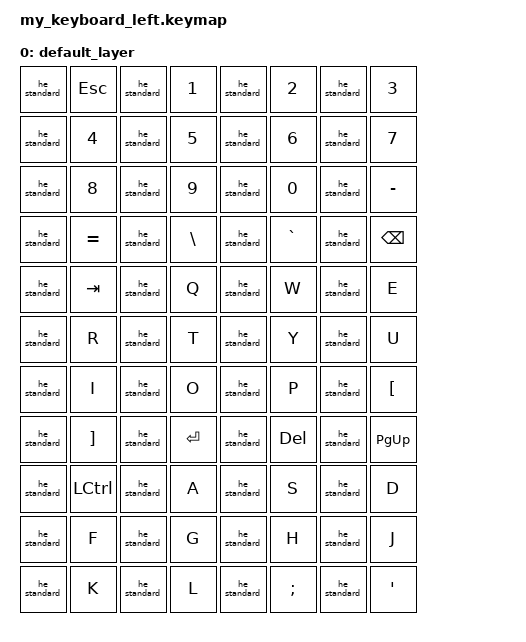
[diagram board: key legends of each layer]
#include <behaviors.dtsi>
#include <dt-bindings/zmk/keys.h>
#include <dt-bindings/zmk/rgb.h>

/ {
    behaviors {
        /* Define a custom actuation: Press at 2.0mm (50%), Release at 1.8mm (45%) */
        he_standard: he_standard {
            compatible = "he,behavior-adjustable-actuation";
            #binding-cells = <0>;
            press-threshold-percent = <50>;
            release-threshold-percent = <45>;
        };
    };

    keymap {
        compatible = "zmk,keymap";
        default_layer {
            // The bindings list must contain exactly one entry per RC entry in the overlay (44 total)
            // Each analog key uses &he_standard &kp <keycode> to apply Hall Effect adjustable actuation
            // Format: &kp stands for "Key Press." Keycodes: https://zmk.dev/docs/keymaps/list-of-keycodes
            // &none can be used for unused key slots
            bindings = <
                /* Row 0 (Mux 0): 16 keys - Number row and modifiers */
                &he_standard &kp ESC   &he_standard &kp N1   &he_standard &kp N2   &he_standard &kp N3
                &he_standard &kp N4   &he_standard &kp N5   &he_standard &kp N6   &he_standard &kp N7
                &he_standard &kp N8   &he_standard &kp N9   &he_standard &kp N0   &he_standard &kp MINUS
                &he_standard &kp EQUAL &he_standard &kp BSLH &he_standard &kp GRAVE &he_standard &kp BSPC

                /* Row 1 (Mux 1): 16 keys - QWERTY row and controls */
                &he_standard &kp TAB  &he_standard &kp Q    &he_standard &kp W    &he_standard &kp E
                &he_standard &kp R    &he_standard &kp T    &he_standard &kp Y    &he_standard &kp U
                &he_standard &kp I    &he_standard &kp O    &he_standard &kp P    &he_standard &kp LBKT
                &he_standard &kp RBKT &he_standard &kp RET  &he_standard &kp DEL  &he_standard &kp PG_UP

                /* Row 2 (Mux 2): 12 keys (channels 0-11 used, 12-15 unused) - Home row and modifiers */
                &he_standard &kp LCTRL &he_standard &kp A   &he_standard &kp S    &he_standard &kp D
                &he_standard &kp F    &he_standard &kp G    &he_standard &kp H    &he_standard &kp J
                &he_standard &kp K    &he_standard &kp L    &he_standard &kp SEMI &he_standard &kp SQT
            >;
            // Total: 16 + 16 + 12 = 44 keys (matches overlay map entries)
        };
    };
};
